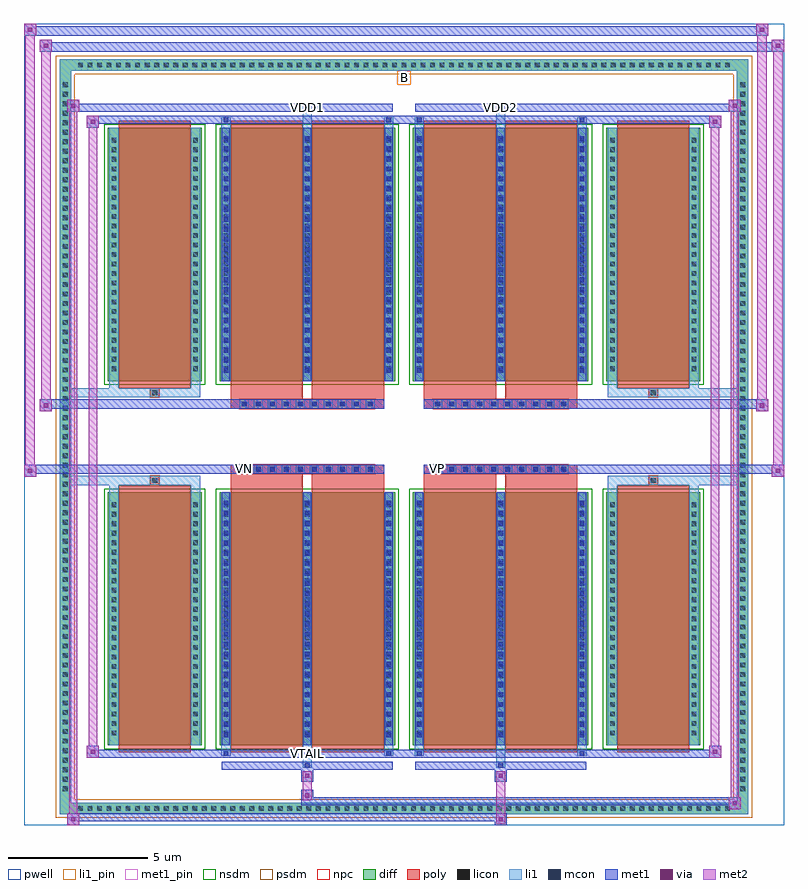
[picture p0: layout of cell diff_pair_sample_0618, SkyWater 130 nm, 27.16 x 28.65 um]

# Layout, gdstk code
import gdstk
lib = gdstk.Library(unit=1e-6, precision=5e-09)
def R(c, l, rs):  # rectangles x0, y0, x1, y1
    for r in rs: c.add(gdstk.rectangle(r[:2], r[2:], *l))
def A(c, l, x, y, w, h, nx, ny, dx, dy):  # array of equal rectangles
    R(c, l, [(x+i*dx, y+j*dy, x+i*dx+w, y+j*dy+h) for i in range(nx) for j in range(ny)])
def P(c, l, *ps):  # polygons
    for p in ps: c.add(gdstk.Polygon(p, *l))
pwell = (64, 44)
diff = (65, 20)
poly = (66, 20)
licon = (66, 44)
li1_pin = (67, 16)
li1 = (67, 20)
mcon = (67, 44)
met1_pin = (68, 16)
met1 = (68, 20)
via = (68, 44)
met2 = (69, 20)
nsdm = (93, 44)
psdm = (94, 20)
npc = (95, 20)

diff_pair_sample_0618 = lib.new_cell('diff_pair_sample_0618')
R(diff_pair_sample_0618, pwell, [(-13.58,-13.89,13.58,14.76), (-10.9,-12.08,-0.01,-0.8), (0.01,-12.08,10.9,-0.8), (-10.9,0.8,-0.01,12.08), (0.01,0.8,10.9,12.08)])
A(diff_pair_sample_0618, diff, -11.765, -13.49, 0.41, 0.41, 69, 2, 0.34, 26.57)
A(diff_pair_sample_0618, diff, -12.31, -12.785, 0.41, 0.41, 1, 75, 0, 0.34)
A(diff_pair_sample_0618, diff, 11.9, -12.785, 0.41, 0.41, 1, 75, 0, 0.34)
R(diff_pair_sample_0618, diff, [(-11.765,-13.49,11.765,-13.08), (-12.31,-12.785,-11.9,12.785), (11.9,-12.785,12.31,12.785), (-10.59,-11.035,-7.23,-1.985), (-6.59,-11.035,-0.32,-1.985), (0.32,-11.035,6.59,-1.985), (7.23,-11.035,10.59,-1.985), (-10.59,1.985,-7.23,11.035), (-6.59,1.985,-0.32,11.035), (0.32,1.985,6.59,11.035), (7.23,1.985,10.59,11.035), (-11.765,13.08,11.765,13.49)])
P(diff_pair_sample_0618, diff, [(12.31,13.49),(-12.31,13.49),(-12.31,-13.08),(-11.9,-13.08),(-11.9,13.08),(11.9,13.08),(11.9,-13.08),(-11.9,-13.08),(-12.31,-13.08),(-12.31,-13.49),(12.31,-13.49)])
A(diff_pair_sample_0618, poly, -5.87, -1.33, 0.33, 0.33, 10, 2, 0.5, 2.33)
A(diff_pair_sample_0618, poly, 1.04, -1.33, 0.33, 0.33, 10, 2, 0.5, 2.33)
R(diff_pair_sample_0618, poly, [(-10.2,-11.285,-7.62,-1.735), (-6.2,-11.285,-3.62,-1.735), (-3.29,-11.285,-0.71,-1.735), (0.71,-11.285,3.29,-1.735), (3.62,-11.285,6.2,-1.735), (7.62,-11.285,10.2,-1.735), (-9.075,-1.735,-8.745,-1.405), (-9.075,-1.735,-8.745,-1.405), (-6.2,-1.735,-3.62,-1.33), (-3.29,-1.735,-0.71,-1.33), (0.71,-1.735,3.29,-1.33), (3.62,-1.735,6.2,-1.33), (8.745,-1.735,9.075,-1.405), (8.745,-1.735,9.075,-1.405), (-6.2,-1.33,-0.71,-1), (0.71,-1.33,6.2,-1), (-6.2,1,-0.71,1.33), (0.71,1,6.2,1.33), (-6.2,1.33,-3.62,1.735), (-3.29,1.33,-0.71,1.735), (0.71,1.33,3.29,1.735), (3.62,1.33,6.2,1.735), (-9.075,1.405,-8.745,1.735), (-9.075,1.405,-8.745,1.735), (8.745,1.405,9.075,1.735), (8.745,1.405,9.075,1.735), (-10.2,1.735,-7.62,11.285), (-6.2,1.735,-3.62,11.285), (-3.29,1.735,-0.71,11.285), (0.71,1.735,3.29,11.285), (3.62,1.735,6.2,11.285), (7.62,1.735,10.2,11.285)])
A(diff_pair_sample_0618, licon, -11.645, -13.37, 0.17, 0.17, 69, 2, 0.34, 26.57)
A(diff_pair_sample_0618, licon, -12.19, -12.665, 0.17, 0.17, 1, 75, 0, 0.34)
A(diff_pair_sample_0618, licon, 12.02, -12.665, 0.17, 0.17, 1, 75, 0, 0.34)
A(diff_pair_sample_0618, licon, -10.45, -10.675, 0.17, 0.17, 1, 25, 0, 0.34)
A(diff_pair_sample_0618, licon, -7.54, -10.675, 0.17, 0.17, 1, 25, 0, 0.34)
A(diff_pair_sample_0618, licon, -6.45, -10.675, 0.17, 0.17, 3, 25, 2.91, 0.34)
A(diff_pair_sample_0618, licon, 0.46, -10.675, 0.17, 0.17, 3, 25, 2.91, 0.34)
A(diff_pair_sample_0618, licon, 7.37, -10.675, 0.17, 0.17, 1, 25, 0, 0.34)
A(diff_pair_sample_0618, licon, 10.28, -10.675, 0.17, 0.17, 1, 25, 0, 0.34)
A(diff_pair_sample_0618, licon, -5.79, -1.25, 0.17, 0.17, 10, 2, 0.5, 2.33)
A(diff_pair_sample_0618, licon, 1.12, -1.25, 0.17, 0.17, 10, 2, 0.5, 2.33)
A(diff_pair_sample_0618, licon, -10.45, 2.345, 0.17, 0.17, 1, 25, 0, 0.34)
A(diff_pair_sample_0618, licon, -7.54, 2.345, 0.17, 0.17, 1, 25, 0, 0.34)
A(diff_pair_sample_0618, licon, -6.45, 2.345, 0.17, 0.17, 3, 25, 2.91, 0.34)
A(diff_pair_sample_0618, licon, 0.46, 2.345, 0.17, 0.17, 3, 25, 2.91, 0.34)
A(diff_pair_sample_0618, licon, 7.37, 2.345, 0.17, 0.17, 1, 25, 0, 0.34)
A(diff_pair_sample_0618, licon, 10.28, 2.345, 0.17, 0.17, 1, 25, 0, 0.34)
R(diff_pair_sample_0618, licon, [(-8.995,-1.655,-8.825,-1.485), (8.825,-1.655,8.995,-1.485), (-8.995,1.485,-8.825,1.655), (8.825,1.485,8.995,1.655)])
R(diff_pair_sample_0618, li1_pin, [(-0.25,12.58,0.25,13.08)])
A(diff_pair_sample_0618, li1, -11.725, -13.45, 0.33, 0.33, 69, 2, 0.34, 26.57)
A(diff_pair_sample_0618, li1, -12.27, -12.745, 0.33, 0.33, 1, 75, 0, 0.34)
A(diff_pair_sample_0618, li1, 11.94, -12.745, 0.33, 0.33, 1, 75, 0, 0.34)
A(diff_pair_sample_0618, li1, -6.53, -11.035, 0.33, 9.05, 3, 2, 2.91, 13.02)
A(diff_pair_sample_0618, li1, 0.38, -11.035, 0.33, 9.05, 3, 2, 2.91, 13.02)
A(diff_pair_sample_0618, li1, -10.53, -10.755, 0.33, 0.33, 1, 25, 0, 0.34)
A(diff_pair_sample_0618, li1, -7.62, -10.755, 0.33, 0.33, 1, 25, 0, 0.34)
A(diff_pair_sample_0618, li1, -6.53, -10.755, 0.33, 0.33, 3, 25, 2.91, 0.34)
A(diff_pair_sample_0618, li1, 0.38, -10.755, 0.33, 0.33, 3, 25, 2.91, 0.34)
A(diff_pair_sample_0618, li1, 7.29, -10.755, 0.33, 0.33, 1, 25, 0, 0.34)
A(diff_pair_sample_0618, li1, 10.2, -10.755, 0.33, 0.33, 1, 25, 0, 0.34)
A(diff_pair_sample_0618, li1, -6.45, -10.735, 0.17, 0.17, 3, 24, 2.91, 0.36)
A(diff_pair_sample_0618, li1, -6.45, -10.735, 0.17, 8.45, 3, 2, 2.91, 13.02)
A(diff_pair_sample_0618, li1, 0.46, -10.735, 0.17, 0.17, 3, 24, 2.91, 0.36)
A(diff_pair_sample_0618, li1, 0.46, -10.735, 0.17, 8.45, 3, 2, 2.91, 13.02)
A(diff_pair_sample_0618, li1, -5.87, -1.33, 0.33, 0.33, 10, 2, 0.5, 2.33)
A(diff_pair_sample_0618, li1, 1.04, -1.33, 0.33, 0.33, 10, 2, 0.5, 2.33)
A(diff_pair_sample_0618, li1, -10.53, 2.265, 0.33, 0.33, 1, 25, 0, 0.34)
A(diff_pair_sample_0618, li1, -7.62, 2.265, 0.33, 0.33, 1, 25, 0, 0.34)
A(diff_pair_sample_0618, li1, -6.53, 2.265, 0.33, 0.33, 3, 25, 2.91, 0.34)
A(diff_pair_sample_0618, li1, 0.38, 2.265, 0.33, 0.33, 3, 25, 2.91, 0.34)
A(diff_pair_sample_0618, li1, 7.29, 2.265, 0.33, 0.33, 1, 25, 0, 0.34)
A(diff_pair_sample_0618, li1, 10.2, 2.265, 0.33, 0.33, 1, 25, 0, 0.34)
A(diff_pair_sample_0618, li1, -6.45, 2.285, 0.17, 0.17, 3, 24, 2.91, 0.36)
A(diff_pair_sample_0618, li1, 0.46, 2.285, 0.17, 0.17, 3, 24, 2.91, 0.36)
R(diff_pair_sample_0618, li1, [(-12.31,-13.49,-11.9,-13.08), (-12.31,-13.49,-11.9,-13.08), (-11.9,-13.49,11.9,-13.08), (11.9,-13.49,12.31,-13.08), (11.9,-13.49,12.31,-13.08), (-12.31,-13.08,-11.9,13.08), (11.9,-13.08,12.31,13.08), (-3.62,-11.84,-3.29,-11.035), (-3.54,-11.84,-3.37,-11.67), (3.29,-11.84,3.62,-11.035), (3.37,-11.84,3.54,-11.67), (-6.53,-11.41,-6.2,-11.035), (-6.45,-11.41,-6.28,-11.24), (-0.71,-11.41,-0.38,-11.035), (-0.63,-11.41,-0.46,-11.24), (0.38,-11.41,0.71,-11.035), (0.46,-11.41,0.63,-11.24), (6.2,-11.41,6.53,-11.035), (6.28,-11.41,6.45,-11.24), (-10.53,-11.035,-10.2,-1.985), (-7.62,-11.035,-7.29,-1.985), (7.29,-11.035,7.62,-1.985), (10.2,-11.035,10.53,-1.985), (-10.53,-1.985,-10.2,-1.405), (-7.62,-1.985,-7.29,-1.405), (7.29,-1.985,7.62,-1.405), (10.2,-1.985,10.53,-1.405), (-12.31,-1.735,-9.075,-1.405), (-10.53,-1.735,-9.075,-1.405), (-9.075,-1.735,-8.745,-1.405), (-8.745,-1.735,-7.29,-1.405), (7.29,-1.735,8.745,-1.405), (8.745,-1.735,9.075,-1.405), (8.745,-1.735,12.31,-1.405), (9.075,-1.735,10.53,-1.405), (-12.31,1.405,-9.075,1.735), (-10.53,1.405,-9.075,1.735), (-10.53,1.405,-10.2,1.985), (-9.075,1.405,-8.745,1.735), (-8.745,1.405,-7.29,1.735), (-7.62,1.405,-7.29,1.985), (7.29,1.405,8.745,1.735), (7.29,1.405,7.62,1.985), (8.745,1.405,9.075,1.735), (8.745,1.405,12.31,1.735), (9.075,1.405,10.53,1.735), (10.2,1.405,10.53,1.985), (-10.53,1.985,-10.2,11.035), (-7.62,1.985,-7.29,11.035), (7.29,1.985,7.62,11.035), (10.2,1.985,10.53,11.035), (-6.53,11.035,-6.2,11.41), (-3.62,11.035,-3.29,11.84), (-0.71,11.035,-0.38,11.41), (0.38,11.035,0.71,11.41), (3.29,11.035,3.62,11.84), (6.2,11.035,6.53,11.41), (-6.45,11.24,-6.28,11.41), (-0.63,11.24,-0.46,11.41), (0.46,11.24,0.63,11.41), (6.28,11.24,6.45,11.41), (-3.54,11.67,-3.37,11.84), (3.37,11.67,3.54,11.84), (-12.31,13.08,-11.9,13.49), (-12.31,13.08,-11.9,13.49), (-11.9,13.08,11.9,13.49), (11.9,13.08,12.31,13.49), (11.9,13.08,12.31,13.49)])
A(diff_pair_sample_0618, mcon, -6.45, -10.735, 0.17, 0.17, 3, 24, 2.91, 0.36)
A(diff_pair_sample_0618, mcon, 0.46, -10.735, 0.17, 0.17, 3, 24, 2.91, 0.36)
A(diff_pair_sample_0618, mcon, -5.79, -1.25, 0.17, 0.17, 10, 2, 0.5, 2.33)
A(diff_pair_sample_0618, mcon, 1.12, -1.25, 0.17, 0.17, 10, 2, 0.5, 2.33)
A(diff_pair_sample_0618, mcon, -6.45, 2.285, 0.17, 0.17, 3, 24, 2.91, 0.36)
A(diff_pair_sample_0618, mcon, 0.46, 2.285, 0.17, 0.17, 3, 24, 2.91, 0.36)
R(diff_pair_sample_0618, mcon, [(-3.54,-11.84,-3.37,-11.67), (3.37,-11.84,3.54,-11.67), (-6.45,-11.41,-6.28,-11.24), (-0.63,-11.41,-0.46,-11.24), (0.46,-11.41,0.63,-11.24), (6.28,-11.41,6.45,-11.24), (-6.45,11.24,-6.28,11.41), (-0.63,11.24,-0.46,11.41), (0.46,11.24,0.63,11.41), (6.28,11.24,6.45,11.41), (-3.54,11.67,-3.37,11.84), (3.37,11.67,3.54,11.84)])
R(diff_pair_sample_0618, met1_pin, [(-3.59,-11.45,-3.32,-11.18), (-5.84,-1.29,-5.57,-1.02), (1.07,-1.29,1.34,-1.02), (-3.59,11.63,-3.32,11.9), (3.32,11.63,3.59,11.9)])
A(diff_pair_sample_0618, met1, -6.51, -11.035, 0.29, 9.05, 3, 2, 2.91, 13.02)
A(diff_pair_sample_0618, met1, 0.4, -11.035, 0.29, 9.05, 3, 2, 2.91, 13.02)
A(diff_pair_sample_0618, met1, -6.51, -10.795, 0.29, 0.29, 3, 24, 2.91, 0.36)
A(diff_pair_sample_0618, met1, 0.4, -10.795, 0.29, 0.29, 3, 24, 2.91, 0.36)
A(diff_pair_sample_0618, met1, -5.85, -1.31, 0.29, 0.29, 10, 2, 0.5, 2.33)
A(diff_pair_sample_0618, met1, 1.06, -1.31, 0.29, 0.29, 10, 2, 0.5, 2.33)
A(diff_pair_sample_0618, met1, -6.51, 2.225, 0.29, 0.29, 3, 24, 2.91, 0.36)
A(diff_pair_sample_0618, met1, 0.4, 2.225, 0.29, 0.29, 3, 24, 2.91, 0.36)
R(diff_pair_sample_0618, met1, [(-12.04,-13.89,-11.61,-13.46), (3.24,-13.89,3.67,-13.46), (-12.04,-13.75,3.67,-13.46), (11.61,-13.32,12.04,-12.89), (-3.67,-13.18,12.04,-12.89), (-3.67,-13.04,-3.24,-12.61), (-3.67,-12.33,-3.24,-11.9), (3.24,-12.33,3.67,-11.9), (-6.51,-11.9,-0.4,-11.61), (-3.6,-11.9,-3.31,-11.61), (0.4,-11.9,6.51,-11.61), (3.31,-11.9,3.6,-11.61), (-11.33,-11.47,-10.9,-11.04), (-11.33,-11.47,-6.51,-11.18), (-6.51,-11.47,-6.22,-11.18), (-6.51,-11.47,-0.4,-11.18), (-0.69,-11.47,-0.4,-11.18), (-0.4,-11.47,0.4,-11.18), (0.4,-11.47,0.69,-11.18), (0.4,-11.47,6.51,-11.18), (6.22,-11.47,6.51,-11.18), (6.51,-11.47,11.33,-11.18), (10.9,-11.47,11.33,-11.04), (-13.58,-1.43,-13.15,-1), (13.15,-1.43,13.58,-1), (-13.58,-1.33,-0.71,-1), (-6.2,-1.33,-0.71,-1), (0.71,-1.33,6.2,-1), (0.71,-1.33,13.58,-1), (-13.01,0.9,-12.58,1.33), (12.58,0.9,13.01,1.33), (-13.01,1,-6.2,1.33), (-6.2,1,-0.71,1.33), (0.71,1,6.2,1.33), (6.2,1,13.01,1.33), (-11.33,11.04,-10.9,11.47), (10.9,11.04,11.33,11.47), (-11.33,11.18,-6.51,11.47), (-6.51,11.18,-6.22,11.47), (-6.51,11.18,-0.4,11.47), (-0.69,11.18,-0.4,11.47), (-0.4,11.18,0.4,11.47), (0.4,11.18,0.69,11.47), (0.4,11.18,6.51,11.47), (6.22,11.18,6.51,11.47), (6.51,11.18,11.33,11.47), (-12.04,11.61,-11.61,12.04), (-12.04,11.61,-6.51,11.9), (-6.51,11.61,-0.4,11.9), (-3.6,11.61,-3.31,11.9), (0.4,11.61,6.51,11.9), (3.31,11.61,3.6,11.9), (6.51,11.61,12.04,11.9), (11.61,11.61,12.04,12.04), (-13.01,13.76,-12.58,14.19), (-13.01,13.76,-10.9,14.09), (-10.9,13.76,10.9,14.09), (10.9,13.76,13.58,14.09), (13.15,13.76,13.58,14.19), (-13.58,14.33,-13.15,14.76), (-13.58,14.33,-10.9,14.66), (-10.9,14.33,10.9,14.66), (10.9,14.33,13.01,14.66), (12.58,14.33,13.01,14.76)])
R(diff_pair_sample_0618, via, [(-11.9,-13.75,-11.75,-13.6), (3.38,-13.75,3.53,-13.6), (11.75,-13.18,11.9,-13.03), (-3.53,-12.9,-3.38,-12.75), (-3.53,-12.19,-3.38,-12.04), (3.38,-12.19,3.53,-12.04), (-11.19,-11.33,-11.04,-11.18), (11.04,-11.33,11.19,-11.18), (-13.44,-1.29,-13.29,-1.14), (13.29,-1.29,13.44,-1.14), (-12.87,1.04,-12.72,1.19), (12.72,1.04,12.87,1.19), (-11.19,11.18,-11.04,11.33), (11.04,11.18,11.19,11.33), (-11.9,11.75,-11.75,11.9), (11.75,11.75,11.9,11.9), (-12.87,13.9,-12.72,14.05), (13.29,13.9,13.44,14.05), (-13.44,14.47,-13.29,14.62), (12.72,14.47,12.87,14.62)])
R(diff_pair_sample_0618, met2, [(-12.04,-13.89,-11.61,-13.46), (-11.97,-13.89,-11.68,12.04), (-11.68,-13.89,-11.61,-13.46), (-11.99,-13.84,-11.66,-13.51), (3.29,-13.84,3.62,-13.51), (3.29,-13.51,3.62,-12.28), (11.61,-13.32,12.04,-12.89), (11.68,-13.32,11.97,12.04), (11.97,-13.32,12.04,-12.89), (11.66,-13.27,11.99,-12.94), (-3.62,-12.99,-3.29,-12.66), (-3.62,-12.66,-3.29,-12.28), (-3.62,-12.28,-3.29,-11.95), (3.29,-12.28,3.62,-11.95), (-11.33,-11.47,-10.9,-11.04), (-11.26,-11.47,-10.97,11.47), (-10.97,-11.47,-10.9,-11.04), (10.9,-11.47,11.33,-11.04), (10.97,-11.47,11.26,11.47), (11.26,-11.47,11.33,-11.04), (-11.28,-11.42,-10.95,-11.09), (10.95,-11.42,11.28,-11.09), (-13.58,-1.43,-13.15,-1), (-13.53,-1.43,-13.2,14.76), (-13.2,-1.43,-13.15,-1), (13.15,-1.43,13.58,-1), (13.2,-1.43,13.53,14.19), (13.53,-1.43,13.58,-1), (-13.53,-1.38,-13.2,-1.05), (13.2,-1.38,13.53,-1.05), (-13.01,0.9,-12.58,1.33), (-12.96,0.9,-12.63,14.19), (-12.63,0.9,-12.58,1.33), (12.58,0.9,13.01,1.33), (12.63,0.9,12.96,14.76), (12.96,0.9,13.01,1.33), (-12.96,0.95,-12.63,1.28), (12.63,0.95,12.96,1.28), (-11.33,11.04,-10.9,11.47), (-10.97,11.04,-10.9,11.47), (10.9,11.04,11.33,11.47), (11.26,11.04,11.33,11.47), (-11.28,11.09,-10.95,11.42), (10.95,11.09,11.28,11.42), (-12.04,11.61,-11.61,12.04), (-11.68,11.61,-11.61,12.04), (11.61,11.61,12.04,12.04), (11.97,11.61,12.04,12.04), (-11.99,11.66,-11.66,11.99), (11.66,11.66,11.99,11.99), (-13.01,13.76,-12.58,14.19), (-12.63,13.76,-12.58,14.19), (13.15,13.76,13.58,14.19), (13.53,13.76,13.58,14.19), (-12.96,13.81,-12.63,14.14), (13.2,13.81,13.53,14.14), (-13.58,14.33,-13.15,14.76), (-13.2,14.33,-13.15,14.76), (12.58,14.33,13.01,14.76), (12.96,14.33,13.01,14.76), (-13.53,14.38,-13.2,14.71), (12.63,14.38,12.96,14.71)])
R(diff_pair_sample_0618, nsdm, [(-10.72,-11.165,-7.1,-1.855), (-6.72,-11.165,-0.19,-1.855), (0.19,-11.165,6.72,-1.855), (7.1,-11.165,10.72,-1.855), (-10.72,1.855,-7.1,11.165), (-6.72,1.855,-0.19,11.165), (0.19,1.855,6.72,11.165), (7.1,1.855,10.72,11.165)])
P(diff_pair_sample_0618, psdm, [(12.44,13.62),(-12.44,13.62),(-12.44,-12.95),(-11.77,-12.95),(-11.77,12.95),(11.77,12.95),(11.77,-12.95),(-11.77,-12.95),(-12.44,-12.95),(-12.44,-13.62),(12.44,-13.62)])
A(diff_pair_sample_0618, npc, -5.89, -1.35, 0.37, 0.37, 10, 2, 0.5, 2.33)
A(diff_pair_sample_0618, npc, 1.02, -1.35, 0.37, 0.37, 10, 2, 0.5, 2.33)
R(diff_pair_sample_0618, npc, [(-9.095,-1.755,-8.725,-1.385), (8.725,-1.755,9.095,-1.385), (-5.89,-1.35,-5.02,-0.98), (-5.89,-1.35,-5.02,-0.98), (-5.39,-1.35,-4.52,-0.98), (-5.39,-1.35,-4.52,-0.98), (-4.89,-1.35,-4.02,-0.98), (-4.89,-1.35,-4.02,-0.98), (-4.39,-1.35,-3.52,-0.98), (-4.39,-1.35,-3.52,-0.98), (-3.89,-1.35,-3.02,-0.98), (-3.89,-1.35,-3.02,-0.98), (-3.39,-1.35,-2.52,-0.98), (-3.39,-1.35,-2.52,-0.98), (-2.89,-1.35,-2.02,-0.98), (-2.89,-1.35,-2.02,-0.98), (-2.39,-1.35,-1.52,-0.98), (-2.39,-1.35,-1.52,-0.98), (-1.89,-1.35,-1.02,-0.98), (-1.89,-1.35,-1.02,-0.98), (1.02,-1.35,1.89,-0.98), (1.02,-1.35,1.89,-0.98), (1.52,-1.35,2.39,-0.98), (1.52,-1.35,2.39,-0.98), (2.02,-1.35,2.89,-0.98), (2.02,-1.35,2.89,-0.98), (2.52,-1.35,3.39,-0.98), (2.52,-1.35,3.39,-0.98), (3.02,-1.35,3.89,-0.98), (3.02,-1.35,3.89,-0.98), (3.52,-1.35,4.39,-0.98), (3.52,-1.35,4.39,-0.98), (4.02,-1.35,4.89,-0.98), (4.02,-1.35,4.89,-0.98), (4.52,-1.35,5.39,-0.98), (4.52,-1.35,5.39,-0.98), (5.02,-1.35,5.89,-0.98), (5.02,-1.35,5.89,-0.98), (-5.89,0.98,-5.02,1.35), (-5.89,0.98,-5.02,1.35), (-5.39,0.98,-4.52,1.35), (-5.39,0.98,-4.52,1.35), (-4.89,0.98,-4.02,1.35), (-4.89,0.98,-4.02,1.35), (-4.39,0.98,-3.52,1.35), (-4.39,0.98,-3.52,1.35), (-3.89,0.98,-3.02,1.35), (-3.89,0.98,-3.02,1.35), (-3.39,0.98,-2.52,1.35), (-3.39,0.98,-2.52,1.35), (-2.89,0.98,-2.02,1.35), (-2.89,0.98,-2.02,1.35), (-2.39,0.98,-1.52,1.35), (-2.39,0.98,-1.52,1.35), (-1.89,0.98,-1.02,1.35), (-1.89,0.98,-1.02,1.35), (1.02,0.98,1.89,1.35), (1.02,0.98,1.89,1.35), (1.52,0.98,2.39,1.35), (1.52,0.98,2.39,1.35), (2.02,0.98,2.89,1.35), (2.02,0.98,2.89,1.35), (2.52,0.98,3.39,1.35), (2.52,0.98,3.39,1.35), (3.02,0.98,3.89,1.35), (3.02,0.98,3.89,1.35), (3.52,0.98,4.39,1.35), (3.52,0.98,4.39,1.35), (4.02,0.98,4.89,1.35), (4.02,0.98,4.89,1.35), (4.52,0.98,5.39,1.35), (4.52,0.98,5.39,1.35), (5.02,0.98,5.89,1.35), (5.02,0.98,5.89,1.35), (-9.095,1.385,-8.725,1.755), (8.725,1.385,9.095,1.755)])
diff_pair_sample_0618.add(gdstk.Label('VTAIL', (-3.455,-11.315), layer=68, texttype=5))
diff_pair_sample_0618.add(gdstk.Label('VN', (-5.705,-1.155), layer=68, texttype=5))
diff_pair_sample_0618.add(gdstk.Label('VP', (1.205,-1.155), layer=68, texttype=5))
diff_pair_sample_0618.add(gdstk.Label('B', (0,12.83), layer=67, texttype=5))
diff_pair_sample_0618.add(gdstk.Label('VDD2', (3.455,11.765), layer=68, texttype=5))
diff_pair_sample_0618.add(gdstk.Label('VDD1', (-3.455,11.765), layer=68, texttype=5))

lib.write_gds('diff_pair_sample_0618.gds')
